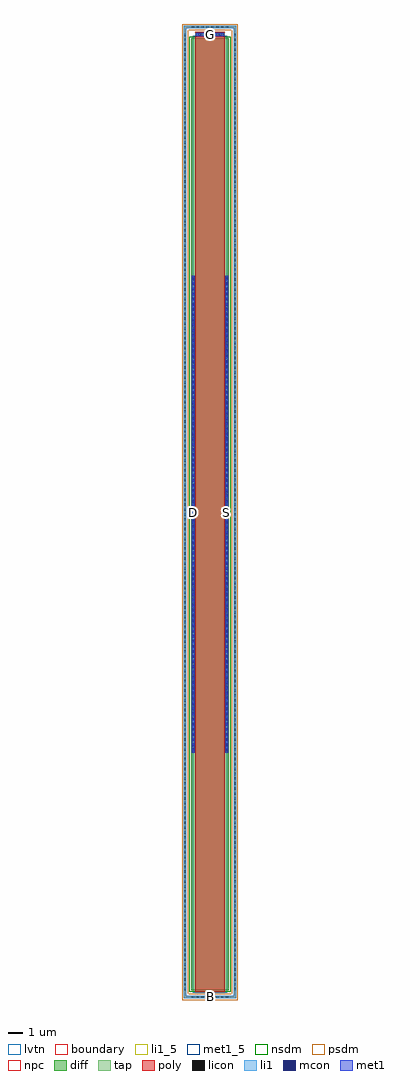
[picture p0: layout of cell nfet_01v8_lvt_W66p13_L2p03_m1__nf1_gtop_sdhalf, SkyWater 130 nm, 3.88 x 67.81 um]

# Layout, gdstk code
import gdstk
lib = gdstk.Library(unit=1e-6, precision=1e-09)
def R(c, l, rs):  # rectangles x0, y0, x1, y1
    for r in rs: c.add(gdstk.rectangle(r[:2], r[2:], *l))
def A(c, l, x, y, w, h, nx, ny, dx, dy):  # array of equal rectangles
    R(c, l, [(x+i*dx, y+j*dy, x+i*dx+w, y+j*dy+h) for i in range(nx) for j in range(ny)])
diff = (65, 20)
tap = (65, 44)
poly = (66, 20)
licon = (66, 44)
li1_5 = (67, 5)
li1 = (67, 20)
mcon = (67, 44)
met1_5 = (68, 5)
met1 = (68, 20)
nsdm = (93, 44)
psdm = (94, 20)
npc = (95, 20)
lvtn = (125, 44)
boundary = (235, 4)

sky130_fd_pr__nfet_01v8_ = lib.new_cell('sky130_fd_pr__nfet_01v8_lvt_WGCJY2')
R(sky130_fd_pr__nfet_01v8_, diff, [(-1.305,-33.22,1.305,32.91)])
R(sky130_fd_pr__nfet_01v8_, tap, [(-1.815,-33.78,1.815,-33.61), (-1.815,-33.61,-1.645,33.61), (1.645,-33.61,1.815,33.61), (-1.815,33.61,1.815,33.78)])
R(sky130_fd_pr__nfet_01v8_, poly, [(-1.015,-33.35,1.015,33.35)])
A(sky130_fd_pr__nfet_01v8_, licon, -1.275, -33.78, 0.17, 0.17, 8, 2, 0.34, 67.39)
A(sky130_fd_pr__nfet_01v8_, licon, -1.815, -33.235, 0.17, 0.17, 1, 196, 0, 0.34)
A(sky130_fd_pr__nfet_01v8_, licon, 1.645, -33.235, 0.17, 0.17, 1, 196, 0, 0.34)
A(sky130_fd_pr__nfet_01v8_, licon, -1.245, -16.56, 0.17, 0.17, 1, 97, 0, 0.34)
A(sky130_fd_pr__nfet_01v8_, licon, 1.075, -16.56, 0.17, 0.17, 1, 97, 0, 0.34)
A(sky130_fd_pr__nfet_01v8_, licon, -0.935, 33.1, 0.17, 0.17, 6, 1, 0.34, 0)
R(sky130_fd_pr__nfet_01v8_, li1, [(-1.815,-33.78,1.815,-33.61), (-1.815,-33.61,-1.645,33.61), (1.645,-33.61,1.815,33.61), (-1.245,-16.74,-1.075,16.43), (1.075,-16.74,1.245,16.43), (-1.015,33.1,1.015,33.27), (-1.815,33.61,1.815,33.78)])
A(sky130_fd_pr__nfet_01v8_, mcon, -1.245, -16.62, 0.17, 0.17, 1, 92, 0, 0.36)
A(sky130_fd_pr__nfet_01v8_, mcon, 1.075, -16.62, 0.17, 0.17, 1, 92, 0, 0.36)
A(sky130_fd_pr__nfet_01v8_, mcon, -0.805, 33.1, 0.17, 0.17, 5, 1, 0.36, 0)
R(sky130_fd_pr__nfet_01v8_, met1, [(-1.275,-16.72,-1.045,16.41), (1.045,-16.72,1.275,16.41), (-0.995,33.07,0.995,33.3)])
R(sky130_fd_pr__nfet_01v8_, nsdm, [(-1.43,-33.345,1.43,33.035)])
R(sky130_fd_pr__nfet_01v8_, psdm, [(-1.94,-33.905,1.94,-33.485), (-1.94,-33.485,-1.52,33.485), (1.52,-33.485,1.94,33.485), (-1.94,33.485,1.94,33.905)])
R(sky130_fd_pr__nfet_01v8_, npc, [(-1.035,33,1.035,33.37)])
R(sky130_fd_pr__nfet_01v8_, lvtn, [(-1.195,-33.4,1.195,33.09)])
R(sky130_fd_pr__nfet_01v8_, boundary, [(-1.73,-33.695,1.73,33.695)])
sky130_fd_pr__nfet_01v8_.add(gdstk.Label('B', (0,-33.695), layer=67, texttype=5))
sky130_fd_pr__nfet_01v8_.add(gdstk.Label('D', (-1.16,-0.155), layer=67, texttype=5))
sky130_fd_pr__nfet_01v8_.add(gdstk.Label('S', (1.16,-0.155), layer=67, texttype=5))
sky130_fd_pr__nfet_01v8_.add(gdstk.Label('G', (0,33.185), layer=67, texttype=5))

nfet_01v8_lvt_w66p13_l2p = lib.new_cell('nfet_01v8_lvt_W66p13_L2p03_m1__nf1_gtop_sdhalf')
R(nfet_01v8_lvt_w66p13_l2p, li1_5, [(1.645,-0.085,1.815,0.085)])
R(nfet_01v8_lvt_w66p13_l2p, li1, [(1.645,-0.085,1.815,0.085)])
R(nfet_01v8_lvt_w66p13_l2p, met1_5, [(0.455,33.54,0.685,33.74), (2.775,33.54,3.005,33.74), (0.735,66.765,2.725,66.995)])
R(nfet_01v8_lvt_w66p13_l2p, met1, [(0.455,33.54,0.685,33.74), (2.775,33.54,3.005,33.74), (0.735,66.765,2.725,66.995)])
nfet_01v8_lvt_w66p13_l2p.add(gdstk.Reference(sky130_fd_pr__nfet_01v8_, (1.73,33.695)))
nfet_01v8_lvt_w66p13_l2p.add(gdstk.Label('D', (0.57,33.64), layer=68, texttype=5))
nfet_01v8_lvt_w66p13_l2p.add(gdstk.Label('S', (2.89,33.64), layer=68, texttype=5))
nfet_01v8_lvt_w66p13_l2p.add(gdstk.Label('G', (1.73,66.88), layer=68, texttype=5))
nfet_01v8_lvt_w66p13_l2p.add(gdstk.Label('B', (1.73,0), layer=67, texttype=5))

lib.write_gds('nfet_01v8_lvt_W66p13_L2p03_m1__nf1_gtop_sdhalf.gds')
